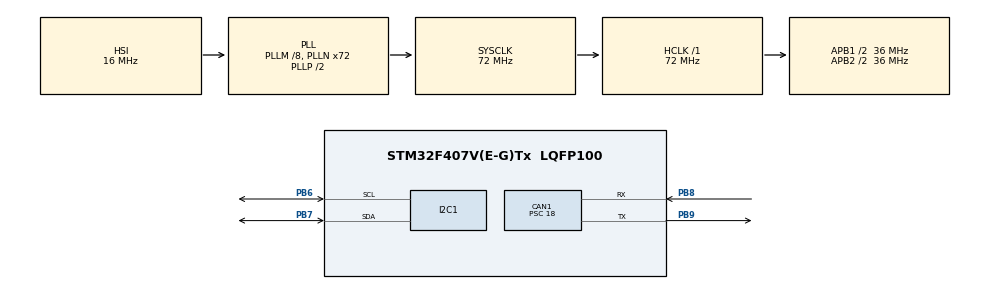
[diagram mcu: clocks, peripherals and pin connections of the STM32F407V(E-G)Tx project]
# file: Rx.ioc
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CAN1.BS1=CAN_BS1_2TQ
CAN1.CalculateBaudRate=500000
CAN1.CalculateTimeBit=2000
CAN1.CalculateTimeQuantum=500.0
CAN1.Prescaler=18
Mcu.Family=STM32F4
Mcu.Name=STM32F407V(E-G)Tx
Mcu.Package=LQFP100
NVIC.CAN1_RX0_IRQn=true\:0\:0\:false\:false\:true\:true\:true\:true
NVIC.PriorityGroup=NVIC_PRIORITYGROUP_0
PB6.Mode=I2C
PB6.Signal=I2C1_SCL
PB7.Mode=I2C
PB7.Signal=I2C1_SDA
PB8.Mode=CAN_Activate
PB8.Signal=CAN1_RX
PB9.Mode=CAN_Activate
PB9.Signal=CAN1_TX
PH0-OSC_IN.Mode=HSE-External-Oscillator
PH0-OSC_IN.Signal=RCC_OSC_IN
PH1-OSC_OUT.Mode=HSE-External-Oscillator
PH1-OSC_OUT.Signal=RCC_OSC_OUT
ProjectManager.HeapSize=0x200
ProjectManager.StackSize=0x400
ProjectManager.TargetToolchain=STM32CubeIDE
RCC.48MHZClocksFreq_Value=20571428.57142857
RCC.AHBFreq_Value=72000000
RCC.APB1CLKDivider=RCC_HCLK_DIV2
RCC.APB1Freq_Value=36000000
RCC.APB1TimFreq_Value=72000000
RCC.APB2CLKDivider=RCC_HCLK_DIV2
RCC.APB2Freq_Value=36000000
RCC.APB2TimFreq_Value=72000000
RCC.CortexFreq_Value=72000000
RCC.HCLKFreq_Value=72000000
RCC.HSE_VALUE=8000000
RCC.HSI_VALUE=16000000
RCC.LSE_VALUE=32768
RCC.PLLM=8
RCC.PLLN=72
RCC.PLLQ=7
RCC.SYSCLKFreq_VALUE=72000000
RCC.SYSCLKSource=RCC_SYSCLKSOURCE_PLLCLK
RCC.VCOOutputFreq_Value=144000000
board=STM32F407G-DISC1

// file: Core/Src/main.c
/* USER CODE BEGIN Header */
/**
  ******************************************************************************
  * @file           : main.c
  * @brief          : Main program body
  ******************************************************************************
  * @attention
  *
  * Copyright (c) 2024 STMicroelectronics.
  * All rights reserved.
  *
  * This software is licensed under terms that can be found in the LICENSE file
  * in the root directory of this software component.
  * If no LICENSE file comes with this software, it is provided AS-IS.
  *
  ******************************************************************************
  */
/* USER CODE END Header */
#include "main.h"

/* USER CODE BEGIN Includes */
#include "i2c-lcd.h"
/* USER CODE END Includes */

CAN_HandleTypeDef hcan1;

I2C_HandleTypeDef hi2c1;

void SystemClock_Config(void);
static void MX_GPIO_Init(void);
static void MX_CAN1_Init(void);
static void MX_I2C1_Init(void);

/* USER CODE BEGIN 0 */
CAN_RxHeaderTypeDef RxHeader;
uint8_t RxData[5];

int row=0;
int col=0;

void HAL_CAN_RxFifo0MsgPendingCallback(CAN_HandleTypeDef *hcan){

	//HAL_GPIO_WritePin(GPIOD, GPIO_PIN_15, GPIO_PIN_SET); // blue
	HAL_CAN_GetRxMessage(&hcan1, CAN_RX_FIFO0, &RxHeader, RxData);
}
/* USER CODE END 0 */

int main(void)
{

  /* MCU Configuration--------------------------------------------------------*/

  /* Reset of all peripherals, Initializes the Flash interface and the Systick. */
  HAL_Init();

  /* Configure the system clock */
  SystemClock_Config();

  /* Initialize all configured peripherals */
  MX_GPIO_Init();
  MX_CAN1_Init();
  MX_I2C1_Init();
  /* USER CODE BEGIN 2 */
  HAL_CAN_Start(&hcan1);
  HAL_CAN_ActivateNotification(&hcan1, CAN_IT_RX_FIFO0_MSG_PENDING);
  HAL_Delay(100);
  HAL_Delay(100);

  lcd_init ();
  lcd_clear ();
  /* USER CODE END 2 */

  /* Infinite loop */
  while (1)
  {
      if (RxData[0] == 'M')
      {
    	  lcd_send_string ("Motion Detected");
      }
  }
}

void SystemClock_Config(void)
{
  RCC_OscInitTypeDef RCC_OscInitStruct = {0};
  RCC_ClkInitTypeDef RCC_ClkInitStruct = {0};

  /** Configure the main internal regulator output voltage
  */
  __HAL_RCC_PWR_CLK_ENABLE();
  __HAL_PWR_VOLTAGESCALING_CONFIG(PWR_REGULATOR_VOLTAGE_SCALE1);

  /** Initializes the RCC Oscillators according to the specified parameters
  * in the RCC_OscInitTypeDef structure.
  */
  RCC_OscInitStruct.OscillatorType = RCC_OSCILLATORTYPE_HSI;
  RCC_OscInitStruct.HSIState = RCC_HSI_ON;
  RCC_OscInitStruct.HSICalibrationValue = RCC_HSICALIBRATION_DEFAULT;
  RCC_OscInitStruct.PLL.PLLState = RCC_PLL_ON;
  RCC_OscInitStruct.PLL.PLLSource = RCC_PLLSOURCE_HSI;
  RCC_OscInitStruct.PLL.PLLM = 8;
  RCC_OscInitStruct.PLL.PLLN = 72;
  RCC_OscInitStruct.PLL.PLLP = RCC_PLLP_DIV2;
  RCC_OscInitStruct.PLL.PLLQ = 7;
  if (HAL_RCC_OscConfig(&RCC_OscInitStruct) != HAL_OK)
  {
    Error_Handler();
  }

  /** Initializes the CPU, AHB and APB buses clocks
  */
  RCC_ClkInitStruct.ClockType = RCC_CLOCKTYPE_HCLK|RCC_CLOCKTYPE_SYSCLK
                              |RCC_CLOCKTYPE_PCLK1|RCC_CLOCKTYPE_PCLK2;
  RCC_ClkInitStruct.SYSCLKSource = RCC_SYSCLKSOURCE_PLLCLK;
  RCC_ClkInitStruct.AHBCLKDivider = RCC_SYSCLK_DIV1;
  RCC_ClkInitStruct.APB1CLKDivider = RCC_HCLK_DIV2;
  RCC_ClkInitStruct.APB2CLKDivider = RCC_HCLK_DIV2;

  if (HAL_RCC_ClockConfig(&RCC_ClkInitStruct, FLASH_LATENCY_2) != HAL_OK)
  {
    Error_Handler();
  }
}

static void MX_CAN1_Init(void)
{

  hcan1.Instance = CAN1;
  hcan1.Init.Prescaler = 18;
  hcan1.Init.Mode = CAN_MODE_NORMAL;
  hcan1.Init.SyncJumpWidth = CAN_SJW_1TQ;
  hcan1.Init.TimeSeg1 = CAN_BS1_2TQ;
  hcan1.Init.TimeSeg2 = CAN_BS2_1TQ;
  hcan1.Init.TimeTriggeredMode = DISABLE;
  hcan1.Init.AutoBusOff = DISABLE;
  hcan1.Init.AutoWakeUp = DISABLE;
  hcan1.Init.AutoRetransmission = DISABLE;
  hcan1.Init.ReceiveFifoLocked = DISABLE;
  hcan1.Init.TransmitFifoPriority = DISABLE;
  if (HAL_CAN_Init(&hcan1) != HAL_OK)
  {
    Error_Handler();
  }
  /* USER CODE BEGIN CAN1_Init 2 */
  CAN_FilterTypeDef canFilterConfig;
  canFilterConfig.FilterActivation=CAN_FILTER_ENABLE;
  canFilterConfig.SlaveStartFilterBank=14;
  canFilterConfig.FilterBank=2;
  canFilterConfig.FilterFIFOAssignment=CAN_RX_FIFO0;
  canFilterConfig.FilterScale=CAN_FILTERSCALE_32BIT;
  canFilterConfig.FilterMode=CAN_FILTERMODE_IDMASK;
  canFilterConfig.FilterMaskIdLow=0x0000;
  canFilterConfig.FilterMaskIdHigh=0xFF00;
  canFilterConfig.FilterIdLow=0x0000;
  canFilterConfig.FilterIdHigh=0x1500;
  HAL_CAN_ConfigFilter(&hcan1, &canFilterConfig);
  /* USER CODE END CAN1_Init 2 */

}

static void MX_I2C1_Init(void)
{

  hi2c1.Instance = I2C1;
  hi2c1.Init.ClockSpeed = 100000;
  hi2c1.Init.DutyCycle = I2C_DUTYCYCLE_2;
  hi2c1.Init.OwnAddress1 = 0;
  hi2c1.Init.AddressingMode = I2C_ADDRESSINGMODE_7BIT;
  hi2c1.Init.DualAddressMode = I2C_DUALADDRESS_DISABLE;
  hi2c1.Init.OwnAddress2 = 0;
  hi2c1.Init.GeneralCallMode = I2C_GENERALCALL_DISABLE;
  hi2c1.Init.NoStretchMode = I2C_NOSTRETCH_DISABLE;
  if (HAL_I2C_Init(&hi2c1) != HAL_OK)
  {
    Error_Handler();
  }

}

static void MX_GPIO_Init(void)
{

  /* GPIO Ports Clock Enable */
  __HAL_RCC_GPIOH_CLK_ENABLE();
  __HAL_RCC_GPIOB_CLK_ENABLE();

}

void Error_Handler(void)
{
  __disable_irq();
  while (1)
  {
  }
}
